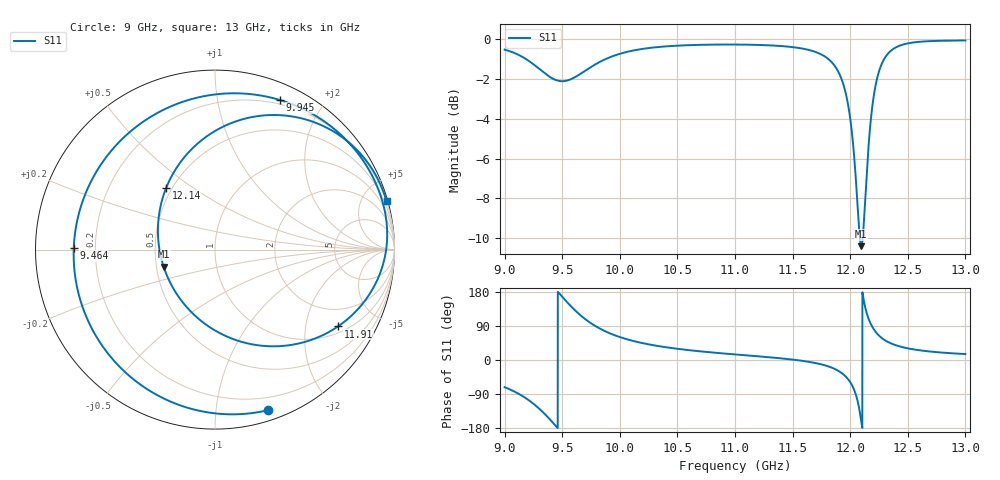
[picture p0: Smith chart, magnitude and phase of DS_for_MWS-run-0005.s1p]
! TOUCHSTONE file generated by CST DESIGN STUDIO
! Date and time: Tue Feb  4 17:09:37 2025
! Project name: C:\Work\MatlabApps\UnitCellOptimizationMatlab\CST\unitcell.cst
! Tree item: Tasks\Sweep1\SPara1\S-Parameters
! Header version: 2024
! Port assignment regex: !\s*Touchstone port\s*([0-9]+)\s*=\s*(CST MWS port|CST DES external port|CST DES block port)\s*(.+)\s* \(\"(.*)\"\)(\s*mode\s*([0-9]+))?.*
! Touchstone port assignment:
! Touchstone port 1 = CST DES external port 1 ("")
# GHz S MA R 50
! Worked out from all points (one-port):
!   4001 points, 9 GHz to 13 GHz, reference 50 ohm
!   lowest |S11| = -10.4 dB at 12.1 GHz (marker M1), VSWR 1.86, Z = 27.3 - j5.74 ohm
!   |S11| at or under -10 dB: 12.0837 GHz to 12.1087 GHz (25 MHz wide, 0.207 % of centre)
!   S11 on the Smith chart (normalised r, x): 9 GHz: 0.09, -1.38; 9.464 GHz: 0.12, +0.01; 9.945 GHz: 0.16, +1.51; 11.91 GHz: 1.23, -3.03; 12.14 GHz: 0.47, +0.40; 13 GHz: 0.17, +7.26
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9  0.9421 -71.7
9.141  0.9078 -92.5
9.249  0.8661 -115.1
9.371  0.8124 -149.5
9.464  0.787 179.3
9.5  0.7846 166.9
9.6  0.8001 134.4
9.695  0.8322 109.0
9.802  0.8698 87.1
9.945  0.9086 66.6
10  0.9197 60.6
10.215  0.9479 43.4
10.5  0.9642 29.6
11  0.9705 14.7
11.5  0.9561 1.1
11.77  0.9092 -13.1
11.915  0.8076 -32.0
11.96  0.7345 -43.3
12  0.6327 -58.4
12.05  0.441 -92.1
12.096  0.3016 -161.6
12.139  0.4382 128.4
12.184  0.6477 91.9
12.234  0.7987 69.5
12.284  0.8803 55.8
12.341  0.9291 45.7
12.5  0.977 30.8
13  0.9937 15.7
